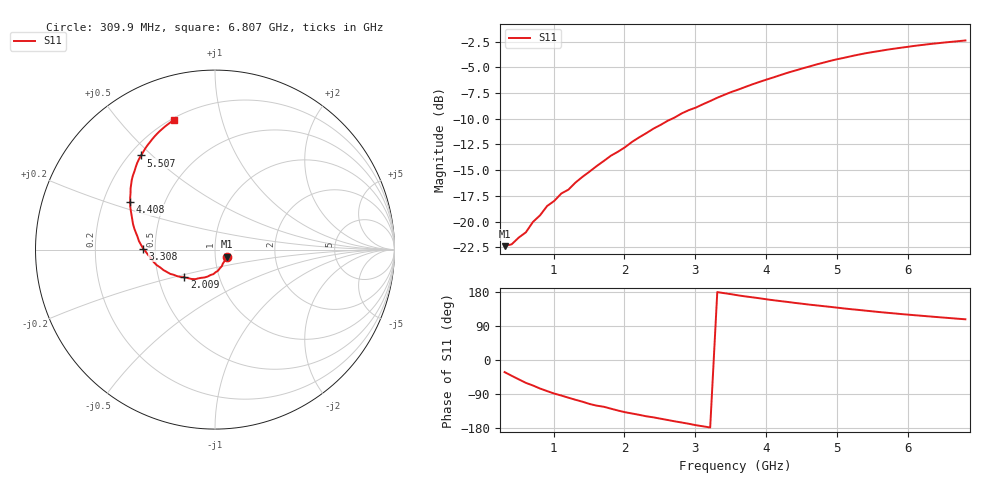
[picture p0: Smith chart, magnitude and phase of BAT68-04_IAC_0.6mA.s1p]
! Infineon Technologies  Discrete & RF Semiconductors
! BAT68-04
! IAC = 0.6 mA
! One-Port S-Parameters
# Hz  S  MA  R  50
!f  S11
!Hz  Mag  Ang
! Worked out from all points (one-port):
!   66 points, 309.9 MHz to 6.807 GHz, reference 50 ohm
!   lowest |S11| = -22.4 dB at 309.9 MHz (marker M1), VSWR 1.16, Z = 56.7 - j4.59 ohm
!   |S11| at or under -10 dB: start of sweep to 2.671 GHz
!   S11 on the Smith chart (normalised r, x): 309.9 MHz: 1.13, -0.09; 2.009 GHz: 0.68, -0.22; 3.308 GHz: 0.43, +0.01; 4.408 GHz: 0.32, +0.24; 5.507 GHz: 0.24, +0.46; 6.807 GHz: 0.21, +0.71
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3.0985e8  0.07605 -32.0
4.098e8  0.07768 -41.7
5.0975e8  0.08376 -51.1
6.097e8  0.08877 -60.3
7.0965e8  0.09974 -67.3
8.096e8  0.1074 -75.3
9.0955e8  0.1192 -82.1
1.0095e9  0.1261 -88.6
1.10945e9  0.1371 -93.8
1.2094e9  0.1431 -99.5
1.30935e9  0.1549 -105.0
1.4093e9  0.1652 -110.1
1.70915e9  0.1973 -123.4
1.8091e9  0.2092 -128.5
2.009e9  0.2301 -137.8
2.10895e9  0.2444 -141.3
2.4088e9  0.2831 -151.4
2.8086e9  0.3358 -165.0
3.30835e9  0.3998 179.2
3.6082e9  0.4384 170.4
3.90805e9  0.4779 162.8
4.4078e9  0.542 150.6
4.90755e9  0.6046 140.1
5.2074e9  0.6375 133.8
5.50725e9  0.6671 128.2
6.007e9  0.7077 119.6
6.30685e9  0.729 114.8
6.8066e9  0.7587 107.4
